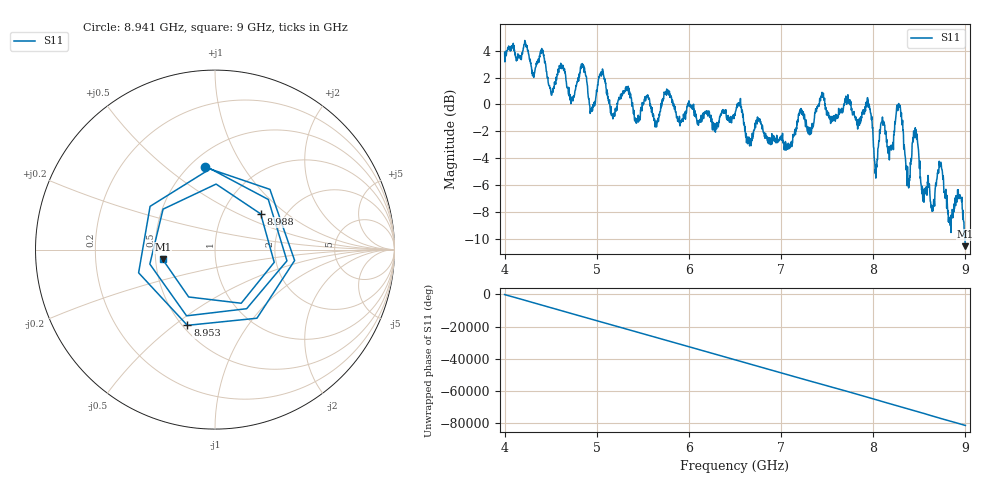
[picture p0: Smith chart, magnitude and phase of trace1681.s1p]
! Created with skrf 1.8.0 (http://scikit-rf.org).
# Hz S RI R 50.0
!freq ReS11 ImS11
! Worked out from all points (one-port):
!   1601 points, 4 GHz to 9 GHz, reference 50 ohm
!   lowest |S11| = -10.6 dB at 9 GHz (marker M1), VSWR 1.84, Z = 27.3 - j3.28 ohm
!   |S11| at or under -10 dB: 8.995572 GHz to end of sweep
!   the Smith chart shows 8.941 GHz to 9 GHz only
!   S11 on the Smith chart (normalised r, x): 8.941 GHz: 0.60, +0.69; 8.953 GHz: 0.53, -0.56; 8.988 GHz: 1.50, +0.67; 9 GHz: 0.55, -0.07
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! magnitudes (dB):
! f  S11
! 4 GHz  3.9
! 4.406 GHz  4.0
! 4.512 GHz  0.7
! 4.625 GHz  2.8
! 4.725 GHz  0.5
! 4.847 GHz  2.8
! 4.944 GHz  -0.5
! 5.05 GHz  2.1
! 5.169 GHz  -0.9
! 5.25 GHz  0.5
! 5.875 GHz  -1.0
! 6.5 GHz  -0.8
! 7.125 GHz  -2.8
! 7.444 GHz  0.9
! 7.75 GHz  0.0
! 7.953 GHz  0.0
! 8.028 GHz  -5.5
! 8.281 GHz  -0.2
! 8.375 GHz  -5.6
! 8.456 GHz  -1.7
! 8.534 GHz  -6.2
! 8.641 GHz  -7.6
! 8.722 GHz  -4.6
! 8.828 GHz  -8.5
! 8.941 GHz  -6.7
! 8.953 GHz  -7.0
! 8.988 GHz  -9.8
! 9 GHz  -10.6
